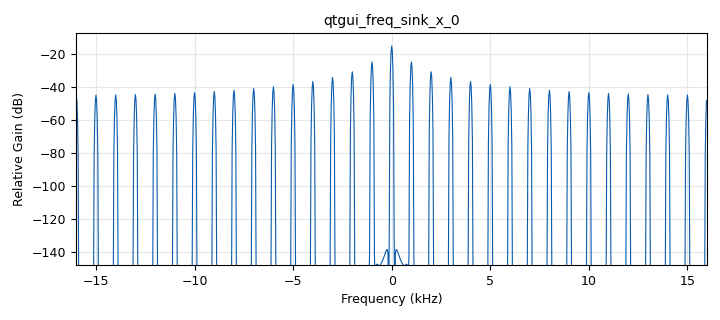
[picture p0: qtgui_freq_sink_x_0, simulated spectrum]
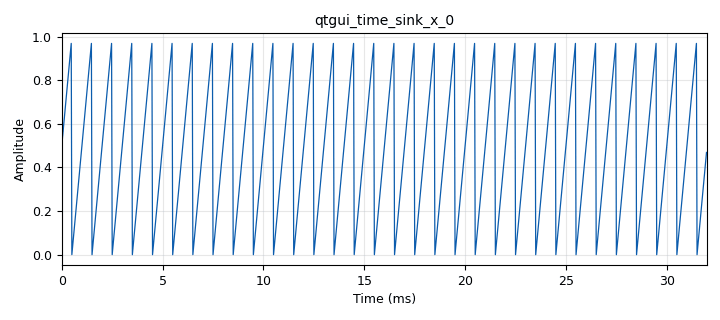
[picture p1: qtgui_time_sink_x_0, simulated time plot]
options:
  parameters:
    generate_options: qt_gui
    id: sine_wave_audio
    output_language: python
    title: sine_wave_audio
  states: {}

blocks:
- name: frequency
  id: variable_qtgui_chooser
  parameters:
    label0: 'Frequency: 0'
    label1: 'Frequency: 1000'
    label2: 'Frequency: -2000'
    num_opts: '3'
    option0: '0'
    option1: '1000'
    option2: '-2000'
    type: int
    value: '0'
  states: {state: disabled}
- name: frequency
  id: variable_qtgui_range
  parameters:
    start: '1000'
    step: '1'
    stop: '16000'
    value: '1000'
  states: {}
- name: frequency
  id: variable
  parameters:
    value: samp_rate/4
  states: {state: disabled}
- name: samp_rate
  id: variable
  parameters:
    value: '32000'
  states: {}
- name: analog_sig_source_x_0
  id: analog_sig_source_x
  parameters:
    amp: '1'
    freq: frequency
    offset: '0'
    phase: '0'
    samp_rate: samp_rate
    type: float
    waveform: analog.GR_SAW_WAVE
  states: {}
- name: audio_sink_0
  id: audio_sink
  parameters:
    samp_rate: samp_rate
  states: {state: disabled}
- name: qtgui_freq_sink_x_0
  id: qtgui_freq_sink_x
  parameters:
    autoscale: 'True'
    bw: samp_rate
    ctrlpanel: 'True'
    fc: '0'
    fftsize: '1024'
    showports: 'True'
    type: float
  states: {}
- name: qtgui_time_sink_x_0
  id: qtgui_time_sink_x
  parameters:
    autoscale: 'True'
    ctrlpanel: 'True'
    label1: ''
    size: '1024'
    srate: samp_rate
    type: float
  states: {}

connections:
- [analog_sig_source_x_0, '0', audio_sink_0, '0']
- [analog_sig_source_x_0, '0', qtgui_freq_sink_x_0, '0']
- [analog_sig_source_x_0, '0', qtgui_time_sink_x_0, '0']

metadata:
  file_format: 1
  grc_version: 3.10.7.0
